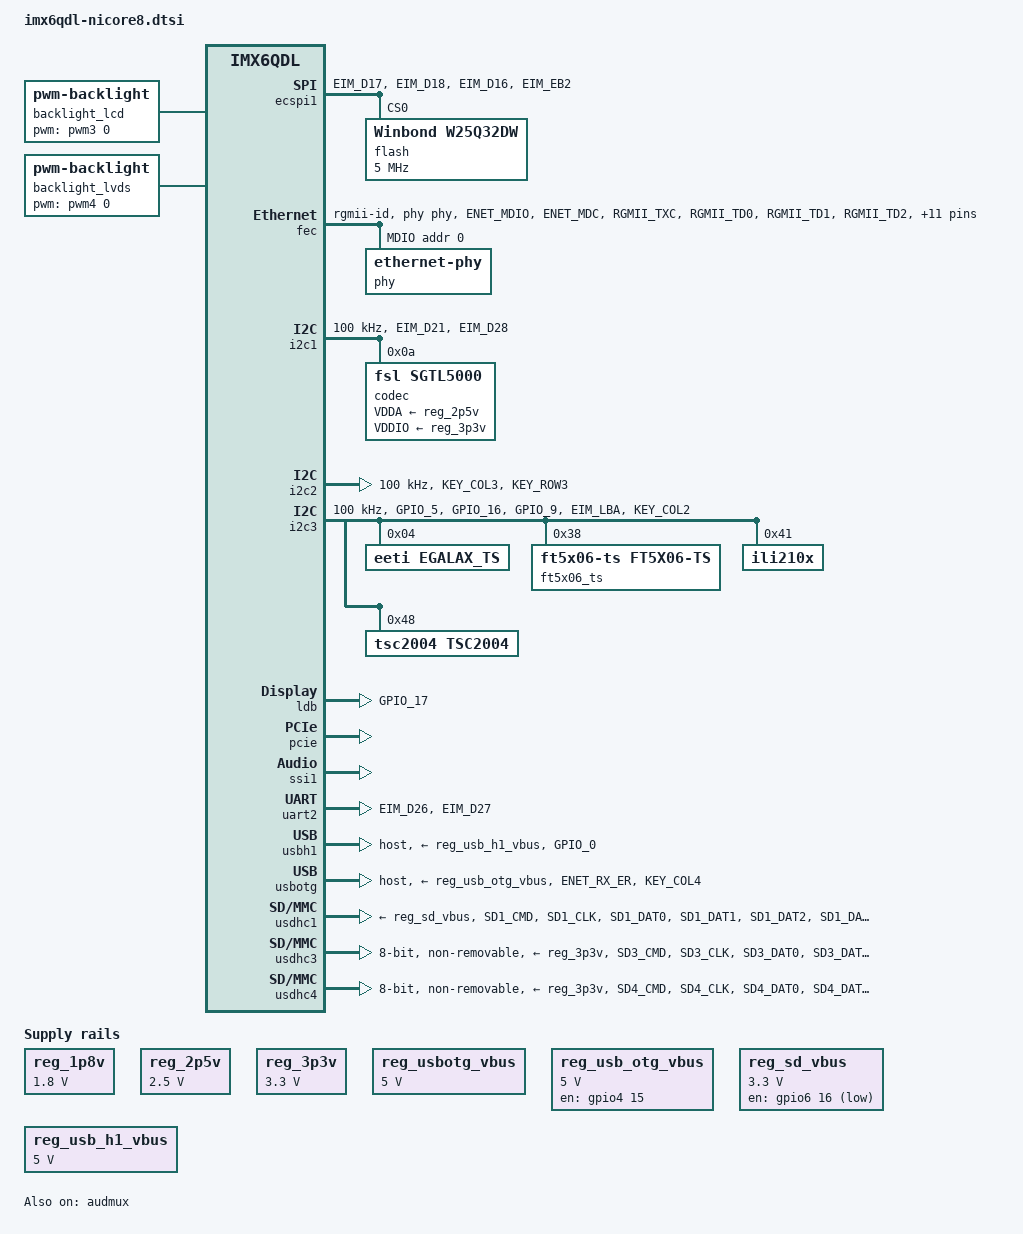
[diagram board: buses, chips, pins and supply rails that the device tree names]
/*
 * Copyright 2020-2021 Logos Payment Solutions A/S
 * Copyright 2014 Boundary Devices
 * Copyright 2012 Freescale Semiconductor, Inc.
 * Copyright 2011 Linaro Ltd.
 *
 * The code contained herein is licensed under the GNU General Public
 * License. You may obtain a copy of the GNU General Public License
 * Version 2 or later at the following locations:
 *
 * http://www.opensource.org/licenses/gpl-license.html
 * http://www.gnu.org/copyleft/gpl.html
 */
//#include "imx6dl.dtsi"

#include <dt-bindings/clock/imx6qdl-clock.h>
#include <dt-bindings/gpio/gpio.h>
#include <dt-bindings/input/input.h>


/* *************************************************************************************************************************** */
/* This line defines how much have been gone through - So when something have been test and verified - move it above this line */
/* *************************************************************************************************************************** */




/ {
	//memory {
	//reg = <0x10000000 0x20000000>;
	//};
	memory {
		device_type =
				"memory";
				reg = <0 0>;
	};

	aliases {
		mmc0 = &usdhc1;
		mmc1 = &usdhc3;
		mmc2 = &usdhc4;
		usb0 = &usbotg; /* required for ums */
		usb1 = &usbh1; /* required for ums */
		ethernet0 = &fec;
	};

	leds: leds {
		compatible = "gpio-leds";
	};

	regulators {
		compatible = "simple-bus";

		reg_1p8v: 1p8v {
			compatible = "regulator-fixed";
			regulator-name = "1P8V";
			regulator-min-microvolt = <1800000>;
			regulator-max-microvolt = <1800000>;
			regulator-always-on;
		};

		reg_2p5v: 2p5v {
			compatible = "regulator-fixed";
			regulator-name = "2P5V";
			regulator-min-microvolt = <2500000>;
			regulator-max-microvolt = <2500000>;
			regulator-always-on;
		};

		reg_3p3v: 3p3v {
			compatible = "regulator-fixed";
			regulator-name = "3P3V";
			regulator-min-microvolt = <3300000>;
			regulator-max-microvolt = <3300000>;
			regulator-always-on;
		};

		reg_usbotg_vbus: usbotg_vbus {
			compatible = "regulator-fixed";
			regulator-name = "usbotg_vbus";
			regulator-min-microvolt = <5000000>;
			regulator-max-microvolt = <5000000>;
		};

		reg_usb_otg_vbus: regulator-usb-otg-vbus {
			compatible = "regulator-fixed";
			regulator-name = "usb_otg_vbus";
			regulator-min-microvolt = <5000000>;
			regulator-max-microvolt = <5000000>;
			pinctrl-0 = <&pinctrl_usbotgvbus>;
			gpio = <&gpio4 15 GPIO_ACTIVE_HIGH>;
			enable-active-high;
			regulator-always-on;
		};

		reg_sd_vbus: regulator-sd-vbus {
			compatible = "regulator-fixed";
			regulator-name = "sd_vbus";
			regulator-min-microvolt = <3300000>;
			regulator-max-microvolt = <3300000>;
			pinctrl-0 = <&pinctrl_usdhc1_pwr_en_vbus>;
			gpio = <&gpio6 16 GPIO_ACTIVE_HIGH>;
			regulator-always-on;
		};

		reg_usb_h1_vbus: regulator-usb-h1-vbus {
			compatible = "regulator-fixed";
			regulator-name = "usb_h1_vbus";
			regulator-min-microvolt = <5000000>;
			regulator-max-microvolt = <5000000>;
			regulator-always-on;
		};
	};

	gpio_keys: gpio-keys {
		compatible = "gpio-keys";
	};

	mxcfb1: fb@0 {
		compatible = "fsl,mxc_sdc_fb";
		disp_dev = "lcd";
		interface_pix_fmt = "RGB565";
		mode_str ="CLAA-WVGA";
		default_bpp = <16>;
		int_clk = <0>;
		late_init = <0>;
		status = "disabled";
	};


		mxcfb3: fb@2 {
			compatible = "fsl,mxc_sdc_fb";
			disp_dev = "ldb";
			interface_pix_fmt = "RGB666";
			mode_str ="LDB-XGA";
			default_bpp = <16>;
			int_clk = <0>;
			late_init = <0>;
			status = "disabled";
		};

		lcd@0 {
			compatible = "fsl,lcd";
			ipu_id = <0>;
			disp_id = <0>;
			default_ifmt = "RGB565";
			pinctrl-names = "default";
			pinctrl-0 = <&pinctrl_ipu1_di0>;
			status = "okay";
		};

		backlight_lcd {
			compatible = "pwm-backlight";
			pwms = <&pwm3 0 5000000>;
			brightness-levels = <0 4 8 16 32 64 128 255>;
			default-brightness-level = <7>;
		};

		backlight_lvds {
			compatible = "pwm-backlight";
			pwms = <&pwm4 0 5000000>;
			brightness-levels = <0 4 8 16 32 64 128 255>;
			default-brightness-level = <7>;
		};

		v4l2_out {
			compatible = "fsl,mxc_v4l2_output";
			status = "okay";
		};
};

&iomuxc {

	pinctrl_audmux3: audmux3grp {
		fsl,pins = <
			MX6QDL_PAD_CSI0_DAT7__AUD3_RXD          0x130b0
			MX6QDL_PAD_CSI0_DAT4__AUD3_TXC          0x130b0
			MX6QDL_PAD_CSI0_DAT5__AUD3_TXD          0x110b0
			MX6QDL_PAD_CSI0_DAT6__AUD3_TXFS         0x130b0
		>;
	};

	pinctrl_leds: ledsgrp {
		fsl,pins = <
				#define GP_LED_GREEN                    <&gpio1 2 GPIO_ACTIVE_LOW>
				MX6QDL_PAD_GPIO_2__GPIO1_IO02           0x0b0b0         /* J14 pin 1 - GLED */
				#define GP_LED_RED                      <&gpio1 3 GPIO_ACTIVE_LOW>
				MX6QDL_PAD_GPIO_3__GPIO1_IO03           0x0b0b0         /* J14 pin 3 - RLED */
				#define GP_J14_POWER_ON                 <&gpio3 29 GPIO_ACTIVE_LOW>
				MX6QDL_PAD_EIM_D29__GPIO3_IO29          0x030b0         /* J14 pin 8/9(dry contact) */
				#define GP_J46_PIN2_I                   <&gpio1 7 GPIO_ACTIVE_LOW>
				MX6QDL_PAD_GPIO_7__GPIO1_IO07           0x0b0b0         /* J46 pin 2 - gp(inverted) */
				#define GP_J46_PIN3_I                   <&gpio1 8 GPIO_ACTIVE_LOW>
				MX6QDL_PAD_GPIO_8__GPIO1_IO08           0x0b0b0         /* J46 pin 3 - gp(inverted) */
				MX6QDL_PAD_GPIO_0__CCM_CLKO1            0x000b0         /* sys_mclk */
		>;
	};

    pinctrl_ecspi1: ecspi1grp {
		fsl,pins = <
			MX6QDL_PAD_EIM_D17__ECSPI1_MISO		0x100b1
			MX6QDL_PAD_EIM_D18__ECSPI1_MOSI		0x100b1
			MX6QDL_PAD_EIM_D16__ECSPI1_SCLK		0x100b1
			#define GP_ECSPI1_NOR_CS		<&gpio2 30 GPIO_ACTIVE_LOW>
			MX6QDL_PAD_EIM_EB2__GPIO2_IO30		0x000b1
		>;
	};

	pinctrl_enet: enetgrp {
		fsl,pins = <
			MX6QDL_PAD_ENET_MDIO__ENET_MDIO		0x1b0b0
			MX6QDL_PAD_ENET_MDC__ENET_MDC		0x1b0b0
			MX6QDL_PAD_RGMII_TXC__RGMII_TXC		0x1b0b0
			MX6QDL_PAD_RGMII_TD0__RGMII_TD0		0x1b0b0
			MX6QDL_PAD_RGMII_TD1__RGMII_TD1		0x1b0b0
			MX6QDL_PAD_RGMII_TD2__RGMII_TD2		0x1b0b0
			MX6QDL_PAD_RGMII_TD3__RGMII_TD3		0x1b0b0
			MX6QDL_PAD_RGMII_TX_CTL__RGMII_TX_CTL	0x1b0b0
			MX6QDL_PAD_ENET_REF_CLK__ENET_TX_CLK	0x1b0b0
			MX6QDL_PAD_RGMII_RXC__RGMII_RXC		0x1b0b0
			MX6QDL_PAD_RGMII_RD0__RGMII_RD0		0x1b0b0
			MX6QDL_PAD_RGMII_RD1__RGMII_RD1		0x1b0b0
			MX6QDL_PAD_RGMII_RD2__RGMII_RD2		0x1b0b0
			MX6QDL_PAD_RGMII_RD3__RGMII_RD3		0x1b0b0
			MX6QDL_PAD_RGMII_RX_CTL__RGMII_RX_CTL	0x1b0b0
			#define GP_ENET_PHY_RESET		<&gpio1 25 GPIO_ACTIVE_LOW>
			MX6QDL_PAD_ENET_RXD0__GPIO1_IO27	0x0f0b0
			#define GP_ENET_PHY_INT			<&gpio1 27 IRQ_TYPE_LEVEL_LOW>
			MX6QDL_PAD_ENET_TX_EN__GPIO1_IO28	0x1b0b0
		>;
	};

	pinctrl_i2c1: i2c1grp {
		fsl,pins = <
			MX6QDL_PAD_EIM_D21__I2C1_SCL		0x4001b8b1
			MX6QDL_PAD_EIM_D28__I2C1_SDA		0x4001b8b1
		>;
	};

	pinctrl_i2c2: i2c2grp {
		fsl,pins = <
			MX6QDL_PAD_KEY_COL3__I2C2_SCL		0x4001b8b1
			MX6QDL_PAD_KEY_ROW3__I2C2_SDA		0x4001b8b1
		>;
	};

	pinctrl_i2c3: i2c3grp {
		fsl,pins = <
			MX6QDL_PAD_GPIO_5__I2C3_SCL		0x4001b8b1
			MX6QDL_PAD_GPIO_16__I2C3_SDA		0x4001b8b1
			#define GP_TOUCH_IRQ			<&gpio1 9 IRQ_TYPE_LEVEL_LOW>
			MX6QDL_PAD_GPIO_9__GPIO1_IO09		0x1b0b0		/* J7 pin 4 - I2C3 */
			#define GP_TS2004_IRQ			<&gpio2 27 IRQ_TYPE_LEVEL_LOW>
			MX6QDL_PAD_EIM_LBA__GPIO2_IO27		0x1b0b0		/* tsc2004(I2C3) irq */
			MX6QDL_PAD_KEY_COL2__GPIO4_IO10		0x0b0b0		/* tsc2004(I2C3) *reset */
		>;
	};

	pinctrl_ipu1_di0: ipu1_di0grp {
		fsl,pins = <
			MX6QDL_PAD_DI0_DISP_CLK__IPU1_DI0_DISP_CLK 0x10
			MX6QDL_PAD_DI0_PIN15__IPU1_DI0_PIN15       0x10		/* DRDY */
			MX6QDL_PAD_DI0_PIN2__IPU1_DI0_PIN02        0x10		/* HSYNC */
			MX6QDL_PAD_DI0_PIN3__IPU1_DI0_PIN03        0x10		/* VSYNC */
			MX6QDL_PAD_DISP0_DAT0__IPU1_DISP0_DATA00   0x10
			MX6QDL_PAD_DISP0_DAT1__IPU1_DISP0_DATA01   0x10
			MX6QDL_PAD_DISP0_DAT2__IPU1_DISP0_DATA02   0x10
			MX6QDL_PAD_DISP0_DAT3__IPU1_DISP0_DATA03   0x10
			MX6QDL_PAD_DISP0_DAT4__IPU1_DISP0_DATA04   0x10
			MX6QDL_PAD_DISP0_DAT5__IPU1_DISP0_DATA05   0x10
			MX6QDL_PAD_DISP0_DAT6__IPU1_DISP0_DATA06   0x10
			MX6QDL_PAD_DISP0_DAT7__IPU1_DISP0_DATA07   0x10
			MX6QDL_PAD_DISP0_DAT8__IPU1_DISP0_DATA08   0x10
			MX6QDL_PAD_DISP0_DAT9__IPU1_DISP0_DATA09   0x10
			MX6QDL_PAD_DISP0_DAT10__IPU1_DISP0_DATA10  0x10
			MX6QDL_PAD_DISP0_DAT11__IPU1_DISP0_DATA11  0x10
			MX6QDL_PAD_DISP0_DAT12__IPU1_DISP0_DATA12  0x10
			MX6QDL_PAD_DISP0_DAT13__IPU1_DISP0_DATA13  0x10
			MX6QDL_PAD_DISP0_DAT14__IPU1_DISP0_DATA14  0x10
			MX6QDL_PAD_DISP0_DAT15__IPU1_DISP0_DATA15  0x10
			MX6QDL_PAD_DISP0_DAT16__IPU1_DISP0_DATA16  0x10
			MX6QDL_PAD_DISP0_DAT17__IPU1_DISP0_DATA17  0x10
			MX6QDL_PAD_DISP0_DAT18__IPU1_DISP0_DATA18  0x10
			MX6QDL_PAD_DISP0_DAT19__IPU1_DISP0_DATA19  0x10
			MX6QDL_PAD_DISP0_DAT20__IPU1_DISP0_DATA20  0x10
			MX6QDL_PAD_DISP0_DAT21__IPU1_DISP0_DATA21  0x10
			MX6QDL_PAD_DISP0_DAT22__IPU1_DISP0_DATA22  0x10
			MX6QDL_PAD_DISP0_DAT23__IPU1_DISP0_DATA23  0x10
		>;
	};

	pinctrl_ipu1_lvds: ipu1_lvdsgrp {
		fsl,pins = <
			MX6QDL_PAD_GPIO_17__GPIO7_IO12		0x1b0b0		/* J6 pin 19, DISP0_CONTRAST */
		>;
	};

	pinctrl_sgtl5000: sgtl5000grp {
		fsl,pins = <
			MX6QDL_PAD_GPIO_0__CCM_CLKO1            0x000b0         /* sys_mclk */
			#define GP_SGTL5000_MUTE                <&gpio5 2 GPIO_ACTIVE_LOW>
			MX6QDL_PAD_EIM_A25__GPIO5_IO02          0x1b0b0
		>;
	};



pinctrl_uart2: uart2grp {
		fsl,pins = <
			MX6QDL_PAD_EIM_D26__UART2_TX_DATA	0x1b0b1
			MX6QDL_PAD_EIM_D27__UART2_RX_DATA	0x1b0b1
		>;
	};


	pinctrl_usbh1: usbh1grp {
		fsl,pins = <
			#define GP_USBH1_HUB_RESET	<&gpio1 0 GPIO_ACTIVE_LOW>
			MX6QDL_PAD_GPIO_0__GPIO1_IO00		0x0b0b0
		>;
	};

	pinctrl_usbotgvbus: usbotgvbusgrp {
		fsl,pins = <
			MX6QDL_PAD_KEY_ROW4__GPIO4_IO15		0x130b0
		>;
	};

	pinctrl_usbotg: usbotggrp {
		fsl,pins = <
			MX6QDL_PAD_ENET_RX_ER__USB_OTG_ID		0x17059
			MX6QDL_PAD_KEY_COL4__USB_OTG_OC			0x1b0b0
		>;
	};

	pinctrl_reg_usbotg_vbus: reg-usbotg-vbusgrp {
		fsl,pins = <
			#define GP_USB_OTG_PWR		<&gpio4 15 GPIO_ACTIVE_HIGH>
			MX6QDL_PAD_KEY_ROW4__GPIO4_IO15		0x030b0
		>;
	};
	pinctrl_usbotg_vbus: usbotg_vbusgrp {
		fsl,pins = <
			/* power enable, high active */
			#define GP_USB_OTG_PWR		<&gpio4 15 GPIO_ACTIVE_HIGH>
			MX6QDL_PAD_KEY_ROW4__GPIO4_IO15		0x030b0
		>;
	};

	/* USDHC1 - micro sd */
	pinctrl_usdhc1_pwr_en_vbus: usdhc1-pwr-en-vbusgrp {
		fsl,pins = <
				#define GP_USDHC1_PWR_EN	<&gpio6 16 GPIO_ACTIVE_HIGH>
				MX6QDL_PAD_NANDF_CS3__GPIO6_IO16	0x1b0b0
			>;
	};

	/* USDHC1 - micro sd */
	pinctrl_usdhc1_50mhz: usdhc1_50mhzgrp {
		fsl,pins = <
			MX6QDL_PAD_SD1_CMD__SD1_CMD			0x17059
			MX6QDL_PAD_SD1_CLK__SD1_CLK			0x10059
			MX6QDL_PAD_SD1_DAT0__SD1_DATA0		0x17059
			MX6QDL_PAD_SD1_DAT1__SD1_DATA1		0x17059
			MX6QDL_PAD_SD1_DAT2__SD1_DATA2		0x17059
			MX6QDL_PAD_SD1_DAT3__SD1_DATA3		0x17059
			MX6QDL_PAD_NANDF_CS1__GPIO6_IO14	0x1b0b0
			MX6QDL_PAD_NANDF_CS2__GPIO6_IO15	0x1b0b0
			MX6QDL_PAD_NANDF_CS3__GPIO6_IO16	0x1b0b0
			#define GP_SD_CD			<&gpio6 14 GPIO_ACTIVE_LOW>
			#define GP_USDHC1_WP		<&gpio6 15 GPIO_ACTIVE_HIGH>
			#define GP_USDHC1_PWR_EN	<&gpio6 16 GPIO_ACTIVE_HIGH>
		>;
	};


	/* USDHC3 - eMMC on Test Carrier */
	pinctrl_usdhc3_50mhz: usdhc3_50mhzgrp {
		fsl,pins = <
			MX6QDL_PAD_SD3_CMD__SD3_CMD		0x17059
			MX6QDL_PAD_SD3_CLK__SD3_CLK		0x10059
			MX6QDL_PAD_SD3_DAT0__SD3_DATA0		0x17059
			MX6QDL_PAD_SD3_DAT1__SD3_DATA1		0x17059
			MX6QDL_PAD_SD3_DAT2__SD3_DATA2		0x17059
			MX6QDL_PAD_SD3_DAT3__SD3_DATA3		0x17059
			MX6QDL_PAD_SD3_DAT4__SD3_DATA4		0x17059
			MX6QDL_PAD_SD3_DAT5__SD3_DATA5		0x17059
			MX6QDL_PAD_SD3_DAT6__SD3_DATA6		0x17059
			MX6QDL_PAD_SD3_DAT7__SD3_DATA7		0x17059
		>;
	};

	/* USDHC4 - eMMC on Nicore8 */
	pinctrl_usdhc4_50mhz: usdhc4_50mhzgrp {
		fsl,pins = <
			MX6QDL_PAD_SD4_CMD__SD4_CMD		0x17059
			MX6QDL_PAD_SD4_CLK__SD4_CLK		0x10059
			MX6QDL_PAD_SD4_DAT0__SD4_DATA0		0x17059
			MX6QDL_PAD_SD4_DAT1__SD4_DATA1		0x17059
			MX6QDL_PAD_SD4_DAT2__SD4_DATA2		0x17059
			MX6QDL_PAD_SD4_DAT3__SD4_DATA3		0x17059
			MX6QDL_PAD_SD4_DAT4__SD4_DATA4		0x17059
			MX6QDL_PAD_SD4_DAT5__SD4_DATA5		0x17059
			MX6QDL_PAD_SD4_DAT6__SD4_DATA6		0x17059
			MX6QDL_PAD_SD4_DAT7__SD4_DATA7		0x17059
		>;
	};

};

&audmux {
	pinctrl-names = "default";
	pinctrl-0 = <&pinctrl_audmux3>;
	status = "okay";
};

/* 		 SPI Flash - Winbond - Core board 	*/
&ecspi1 {
	cs-gpios = GP_ECSPI1_NOR_CS;
	pinctrl-names = "default";
	pinctrl-0 = <&pinctrl_ecspi1>;
	status = "okay";

	flash: m25p80@0 {
		compatible = "Winbond, w25q32dw";
		spi-max-frequency = <5000000>;
		reg = <0>;
		#address-cells = <1>;
		#size-cells = <1>;
		mtd@00000000 {
			label = "U-Boot";
			reg = <0x0 0xC0000>;
		};

		mtd@000C0000 {
			label = "env";
			reg = <0xC0000 0x2000>;
		};
		mtd@000C2000 {
			label = "splash";
			reg = <0xC2000 0x13e000>;
		};
	};
};
&fec {
    pinctrl-names = "default";
    pinctrl-0 = <&pinctrl_enet>;
    phy-handle = <&phy>;
    phy-mode = "rgmii-id";
    phy-reset-duration = <2>;
    phy-reset-gpios = GP_ENET_PHY_RESET;
    status = "okay";

    mdio {
        #address-cells = <0>; // swapped
        #size-cells = <1>; // swapped

        phy: ethernet-phy@0 {
            reg = <0>;
            qca,clk-out-frequency = <125000000>;
        };
    };
};

&i2c1 {
	clock-frequency = <100000>;
	pinctrl-names = "default";
	pinctrl-0 = <&pinctrl_i2c1>;
	status = "okay";
		codec: sgtl5000@0a {
		compatible = "fsl,sgtl5000";
		pinctrl-names = "default";
		pinctrl-0 = <&pinctrl_sgtl5000>;
		reg = <0x0a>;
		clocks = <&clks 201>;
		VDDA-supply = <&reg_2p5v>;
		VDDIO-supply = <&reg_3p3v>;
		};
};

&i2c2 {
	clock-frequency = <100000>;
	pinctrl-names = "default";
	pinctrl-0 = <&pinctrl_i2c2>;
	status = "okay";
};

&i2c3 {
	clock-frequency = <100000>;
	pinctrl-names = "default";
	pinctrl-0 = <&pinctrl_i2c3>;
	status = "okay";

	egalax_ts@04 {
		compatible = "eeti,egalax_ts";
		reg = <0x04>;
		interrupts-extended = GP_TOUCH_IRQ;
		wakeup-gpios = GP_TOUCH_IRQ;
	};

	ft5x06_ts@38 {
		compatible = "ft5x06-ts,ft5x06-ts";
		reg = <0x38>;
		interrupts-extended = GP_TOUCH_IRQ;
		wakeup-gpios = GP_TOUCH_IRQ;
	};
	ili210x@41 {
		compatible = "ili210x";
		reg = <0x41>;
		interrupts-extended = GP_TOUCH_IRQ;
		wakeup-gpios = GP_TOUCH_IRQ;
	};
	tsc2004@48 {
		compatible = "tsc2004,tsc2004";
		reg = <0x48>;
		interrupts-extended = GP_TS2004_IRQ;
		wakeup-gpios = GP_TS2004_IRQ;
	};
};

&ldb {
	pinctrl-names = "default";
	pinctrl-0 = <&pinctrl_ipu1_lvds>;
	ipu_id = <0>;
	disp_id = <1>;
	ext_ref = <1>;
	mode = "sin0";
	sec_ipu_id = <1>;
	sec_disp_id = <1>;
	status = "okay";
};

&pcie {
	status = "okay";
};

&ssi1 {
	fsl,mode = "i2s-slave";
	status = "okay";
};

&uart2 {
	pinctrl-names = "default";
	pinctrl-0 = <&pinctrl_uart2>;
	status = "okay";
};

/* Disabled USB1 for now - Crashed */
&usbh1 {
	vbus-supply = <&reg_usb_h1_vbus>;
	pinctrl-names = "default";
	pinctrl-0 = <&pinctrl_usbh1>;
	reset-gpios = GP_USBH1_HUB_RESET;
	dr_mode = "host";
	status = "okay";
};

&usbotg {
	vbus-supply = <&reg_usb_otg_vbus>;
	//dr_mode = "otg";
	dr_mode = "host";
	pinctrl-names = "default";
	pinctrl-0 = <&pinctrl_usbotg>;
	disable-over-current;
	status = "okay";
};

/* uSDHC1, SD Card on the Test Carrier Board*/
&usdhc1 {
	pinctrl-names = "default";
	pinctrl-0 = <&pinctrl_usdhc1_50mhz>;
	cd-gpios = GP_SD_CD;
	wp-gpios = GP_USDHC1_WP;
	vmmc-supply = <&reg_sd_vbus>;
	status = "okay";
};

&usdhc3 {	// uSDHC3, eMMC on the Test carrier Board
	pinctrl-names = "default";
	pinctrl-0 = <&pinctrl_usdhc3_50mhz>;
	vmmc-supply = <&reg_3p3v>;
	bus-width = <8>;
	non-removable;
	status = "okay";
};

&usdhc4 {	// uSDHC4, eMMC on the Nicore8 Board
	pinctrl-names = "default";
	pinctrl-0 = <&pinctrl_usdhc4_50mhz>;
	vmmc-supply = <&reg_3p3v>;
	//vqmmc-supply = <&reg_3p3v>;
	bus-width = <8>;
	non-removable;
	status = "okay";
};

